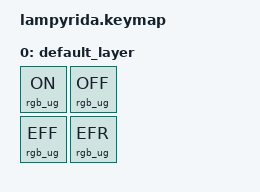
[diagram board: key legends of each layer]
#include <behaviors.dtsi>
#include <dt-bindings/zmk/keys.h>
#include <dt-bindings/zmk/rgb.h>

/ {
  keymap {
    compatible = "zmk,keymap";

    default_layer {
      bindings = <
        &rgb_ug RGB_ON     &rgb_ug RGB_OFF
        &rgb_ug RGB_EFF    &rgb_ug RGB_EFR
      >;
    };
  };
};
